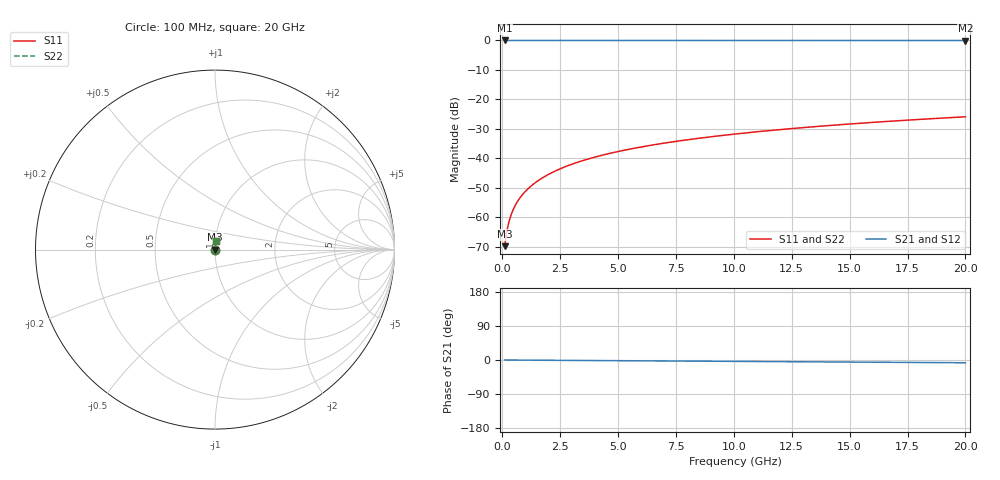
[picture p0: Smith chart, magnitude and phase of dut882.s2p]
! Touchstone file exported from HFSS 2026.1.0
!  File:  C:/ffzhzh/LocalFiles/Ansys_Project_Files/temp_train_TSV_882_1783185754_51560.aedt
!  Generated:  01:24:09 AM Jul  5, 2026
!  Design:  TSV
!  Project:  temp_train_TSV_882_1783185754_51560
! Variables:
!  h_bsmrdl = 2um
!  h_ox = 20um
!  h_rdl = 5um
!  h_sub = 59.85um
!  h_tmrdl = 5um
!  h_tsv = 59.85um
!  h_via = 3um
!  l_bsmrdl = 300um
!  l_sub = 415.8um
!  l_tmrdl = 200um
!  m_sub = 200um
!  pitch = 54.25um
!  r_tsv = 7.9um
!  s_tmrdl = 10um
!  w_bsmrdl = 18um
!  w_sub = 500um
!  w_tmrdl = 12um
!  x_tsv_center1 = 206um
!  x_tsv_center2 = 524um
!  x_tsv_center3 = 736um
!  x_tsv_center4 = 1054um
!  x_tsv_center5 = 1266um
!  x_tsv_center6 = 1584um
# GHz S MA R 50.000000
! Terminal data exported
! Port[1] = TSV1_1_T1
! Port[2] = TSV1_1_T2
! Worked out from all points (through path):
!   200 points, 100 MHz to 20 GHz, reference 50 ohm
!   highest |S21| = 0.00 dB at 100 MHz (marker M1); lowest = 0.0 dB at 20 GHz (marker M2)
!   group delay of S21, straight-line fit = 1.01 ps
!   lowest |S11| = -69.9 dB at 100 MHz (marker M3), VSWR 1.00, Z = 50 + j0.0287 ohm
!   |S11| at or under -10 dB: start of sweep to end of sweep
!   |S22| runs from -69.9 to -25.9 dB; largest |S21 - S12| = 2.3e-15
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0.1  0.0003214 63.3  0.9999 -0.0  0.9999 -0.0  0.0003214 63.3
! Gamma 0 0 0 0
! Port Impedance 50 0 50 0
0.2  0.0005927 75.0  0.9998 -0.1  0.9998 -0.1  0.0005927 75.0
0.3  0.0008709 79.0  0.9998 -0.1  0.9998 -0.1  0.0008709 79.0
0.4  0.001148 80.8  0.9998 -0.2  0.9998 -0.2  0.001148 80.8
0.5  0.001422 81.8  0.9998 -0.2  0.9998 -0.2  0.001422 81.8
0.6  0.001692 82.5  0.9998 -0.2  0.9998 -0.2  0.001692 82.5
0.7  0.00196 82.9  0.9998 -0.3  0.9998 -0.3  0.00196 82.9
0.8  0.002224 83.3  0.9997 -0.3  0.9997 -0.3  0.002224 83.3
1  0.002749 83.8  0.9997 -0.4  0.9997 -0.4  0.002749 83.8
1.4  0.003785 84.5  0.9997 -0.5  0.9997 -0.5  0.003785 84.5
1.7  0.004558 84.9  0.9996 -0.6  0.9996 -0.6  0.004558 84.9
2  0.005331 85.2  0.9996 -0.7  0.9996 -0.7  0.005331 85.2
2.7  0.007131 85.6  0.9995 -1.0  0.9995 -1.0  0.007131 85.6
3.5  0.009183 85.7  0.9995 -1.3  0.9995 -1.3  0.009183 85.7
4.2  0.01097 85.7  0.9994 -1.5  0.9994 -1.5  0.01097 85.7
5  0.01301 85.6  0.9993 -1.8  0.9993 -1.8  0.01301 85.6
6.8  0.01757 85.3  0.9992 -2.5  0.9992 -2.5  0.01757 85.3
8.3  0.02136 85.0  0.999 -3.0  0.999 -3.0  0.02136 85.0
10.1  0.02589 84.5  0.9988 -3.7  0.9988 -3.7  0.02589 84.5
13.4  0.03416 83.5  0.9985 -4.9  0.9985 -4.9  0.03416 83.5
16.7  0.04238 82.5  0.9981 -6.1  0.9981 -6.1  0.04238 82.5
20  0.05056 81.4  0.9976 -7.3  0.9976 -7.3  0.05056 81.4
